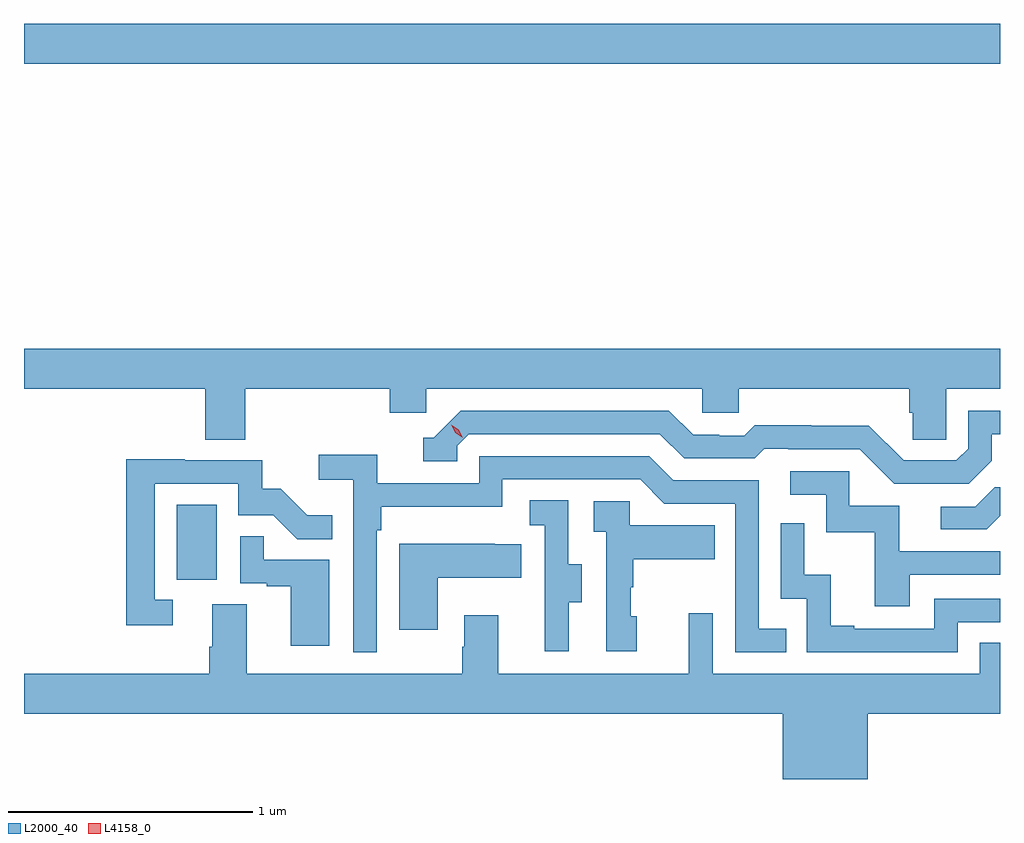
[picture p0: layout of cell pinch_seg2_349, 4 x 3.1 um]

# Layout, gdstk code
import gdstk
lib = gdstk.Library(unit=1e-6, precision=1e-09)
def R(c, l, rs):  # rectangles x0, y0, x1, y1
    for r in rs: c.add(gdstk.rectangle(r[:2], r[2:], *l))
def P(c, l, *ps):  # polygons
    for p in ps: c.add(gdstk.Polygon(p, *l))
L2000_40 = (2000, 40)
L4158_0 = (4158, 0)

pinch_seg2_349 = lib.new_cell('pinch_seg2_349')
R(pinch_seg2_349, L2000_40, [(982.28,628.206,982.444,628.513), (981.655,630.32,985.655,630.484)])
P(pinch_seg2_349, L2000_40, [(982.562,628.988),(983.153,628.988),(983.153,628.89),(983.304,628.89),(983.304,628.988),(984.435,628.988),(984.435,628.89),(984.585,628.89),(984.585,628.988),(985.283,628.988),(985.283,628.89),(985.297,628.89),(985.297,628.78),(985.434,628.78),(985.434,628.988),(985.655,628.988),(985.655,629.152),(981.655,629.152),(981.655,628.988),(982.397,628.988),(982.397,628.78),(982.562,628.78)],
  [(985.621,628.693),(985.621,628.803),(985.655,628.803),(985.655,628.899),(985.524,628.899),(985.524,628.743),(985.476,628.695),(985.26,628.695),(985.118,628.837),(984.882,628.837),(984.882,628.84),(984.649,628.84),(984.607,628.797),(984.504,628.797),(984.504,628.8),(984.397,628.8),(984.298,628.899),(983.445,628.899),(983.334,628.788),(983.291,628.788),(983.291,628.692),(983.43,628.692),(983.43,628.755),(983.478,628.803),(984.261,628.803),(984.36,628.704),(984.649,628.704),(984.688,628.743),(984.787,628.743),(984.787,628.74),(985.08,628.74),(985.221,628.599),(985.527,628.599)],
  [(983.1,628.409),(983.12,628.409),(983.12,628.505),(983.616,628.505),(983.616,628.617),(984.18,628.617),(984.279,628.518),(984.57,628.518),(984.57,627.909),(984.779,627.909),(984.779,628.005),(984.666,628.005),(984.666,628.614),(984.316,628.614),(984.217,628.713),(983.52,628.713),(983.52,628.602),(983.102,628.602),(983.102,628.718),(982.863,628.718),(982.863,628.616),(983.004,628.616),(983.004,627.909),(983.1,627.909)],
  [(982.264,628.125),(982.191,628.125),(982.191,628.599),(982.533,628.599),(982.533,628.47),(982.677,628.47),(982.775,628.372),(982.919,628.372),(982.919,628.471),(982.815,628.471),(982.708,628.578),(982.632,628.578),(982.632,628.695),(982.313,628.695),(982.313,628.7),(982.075,628.7),(982.075,628.02),(982.264,628.02)],
  [(985.285,628.227),(985.655,628.227),(985.655,628.323),(985.243,628.323),(985.243,628.509),(985.038,628.509),(985.038,628.65),(984.795,628.65),(984.795,628.554),(984.942,628.554),(984.942,628.401),(985.141,628.401),(985.141,628.098),(985.285,628.098)],
  [(985.655,628.468),(985.655,628.586),(985.634,628.586),(985.554,628.506),(985.413,628.506),(985.413,628.413),(985.6,628.413)],
  [(983.887,628.114),(983.941,628.114),(983.941,628.269),(983.886,628.269),(983.886,628.532),(983.727,628.532),(983.727,628.429),(983.79,628.429),(983.79,628.125),(983.789,628.125),(983.789,627.912),(983.887,627.912)],
  [(984.166,628.056),(984.141,628.056),(984.141,628.175),(984.151,628.175),(984.151,628.289),(984.485,628.289),(984.485,628.429),(984.138,628.429),(984.138,628.527),(983.991,628.527),(983.991,628.403),(984.042,628.403),(984.042,627.912),(984.166,627.912)],
  [(985.482,628.032),(985.655,628.032),(985.655,628.128),(985.386,628.128),(985.386,628.005),(985.057,628.005),(985.057,628.018),(984.962,628.018),(984.962,628.226),(984.852,628.226),(984.852,628.438),(984.756,628.438),(984.756,628.128),(984.864,628.128),(984.864,627.909),(985.482,627.909)],
  [(982.906,628.287),(982.637,628.287),(982.637,628.385),(982.542,628.385),(982.542,628.191),(982.649,628.191),(982.649,628.179),(982.748,628.179),(982.748,627.936),(982.906,627.936)],
  [(983.35,628.214),(983.693,628.214),(983.693,628.351),(983.585,628.351),(983.585,628.354),(983.192,628.354),(983.192,628.002),(983.35,628.002)],
  [(985.114,627.656),(985.655,627.656),(985.655,627.947),(985.572,627.947),(985.572,627.82),(984.477,627.82),(984.477,628.069),(984.38,628.069),(984.38,627.82),(983.599,627.82),(983.599,628.06),(983.459,628.06),(983.459,627.932),(983.452,627.932),(983.452,627.82),(982.567,627.82),(982.567,628.106),(982.427,628.106),(982.427,627.932),(982.415,627.932),(982.415,627.82),(981.655,627.82),(981.655,627.656),(984.764,627.656),(984.764,627.389),(985.114,627.389)])
P(pinch_seg2_349, L4158_0, [(983.453,628.788),(983.422,628.808),(983.407,628.841),(983.407,628.841),(983.407,628.841),(983.437,628.821),(983.453,628.788),(983.453,628.788)])

lib.write_gds('pinch_seg2_349.gds')
